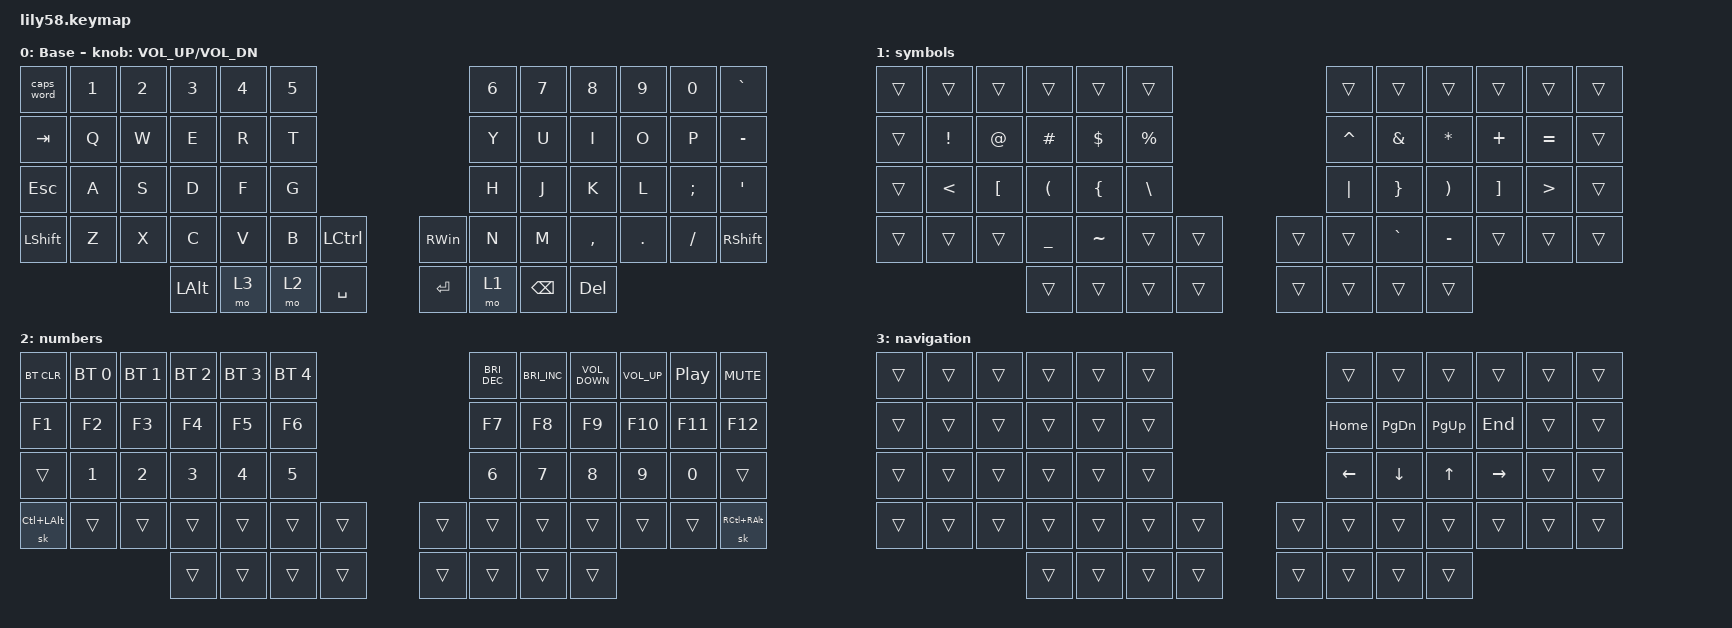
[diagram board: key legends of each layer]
/*
 * Copyright (c) 2020 The ZMK Contributors
 *
 * SPDX-License-Identifier: MIT
 */

#include <behaviors.dtsi>
#include <dt-bindings/zmk/bt.h>
#include <dt-bindings/zmk/keys.h>

/ {
    keymap {
        compatible = "zmk,keymap";

        default_layer {
            // ------------------------------------------------------------------------------------------------------------
            // |  ESC  |  1  |  2  |  3   |  4   |  5   |                   |  6   |  7    |  8    |  9   |   0   |   `   |
            // |  TAB  |  Q  |  W  |  E   |  R   |  T   |                   |  Y   |  U    |  I    |  O   |   P   |   -   |
            // |  CTRL |  A  |  S  |  D   |  F   |  G   |                   |  H   |  J    |  K    |  L   |   ;   |   '   |
            // | SHIFT |  Z  |  X  |  C   |  V   |  B   |   "["  |  |  "]"  |  N   |  M    |  ,    |  .   |   /   | SHIFT |
            //                     | ALT  | GUI  | LOWER|  SPACE |  | ENTER | RAISE| BSPC  | GUI   |

            display-name = "Base";
            bindings = <
&caps_word  &kp N1  &kp N2  &kp N3    &kp N4  &kp N5                                     &kp N6  &kp N7    &kp N8     &kp N9   &kp N0    &kp GRAVE
&kp TAB     &kp Q   &kp W   &kp E     &kp R   &kp T                                      &kp Y   &kp U     &kp I      &kp O    &kp P     &kp MINUS
&kp ESC     &kp A   &kp S   &kp D     &kp F   &kp G                                      &kp H   &kp J     &kp K      &kp L    &kp SEMI  &kp SQT
&kp LSHFT   &kp Z   &kp X   &kp C     &kp V   &kp B   &kp LEFT_CONTROL    &kp RIGHT_WIN  &kp N   &kp M     &kp COMMA  &kp DOT  &kp FSLH  &kp RSHFT
                            &kp LALT  &mo 3   &mo 2   &kp SPACE           &kp RET        &mo 1   &kp BSPC  &kp DEL
            >;

            sensor-bindings = <&inc_dec_kp C_VOL_UP C_VOL_DN>;
        };

        symbols {
            bindings = <
&trans  &trans           &trans            &trans                &trans          &trans                         &trans     &trans           &trans                 &trans             &trans            &trans
&trans  &kp EXCLAMATION  &kp AT_SIGN       &kp POUND             &kp DOLLAR      &kp PERCENT                    &kp CARET  &kp AMPERSAND    &kp ASTERISK           &kp PLUS           &kp EQUAL         &trans
&trans  &kp LESS_THAN    &kp LEFT_BRACKET  &kp LEFT_PARENTHESIS  &kp LEFT_BRACE  &kp BSLH                       &kp PIPE   &kp RIGHT_BRACE  &kp RIGHT_PARENTHESIS  &kp RIGHT_BRACKET  &kp GREATER_THAN  &trans
&trans  &trans           &trans            &kp UNDERSCORE        &kp TILDE       &trans       &trans    &trans  &trans     &kp GRAVE        &kp MINUS              &trans             &trans            &trans
                                           &trans                &trans          &trans       &trans    &trans  &trans     &trans           &trans
            >;
        };

        numbers {
            bindings = <
&bt BT_CLR    &bt BT_SEL 0  &bt BT_SEL 1  &bt BT_SEL 2  &bt BT_SEL 3  &bt BT_SEL 4                    &kp C_BRIGHTNESS_DEC  &kp C_BRIGHTNESS_INC  &kp C_VOLUME_DOWN  &kp C_VOLUME_UP  &kp C_PLAY_PAUSE  &kp C_MUTE
&kp F1        &kp F2        &kp F3        &kp F4        &kp F5        &kp F6                          &kp F7                &kp F8                &kp F9             &kp F10          &kp F11           &kp F12
&trans        &kp NUMBER_1  &kp NUMBER_2  &kp NUMBER_3  &kp NUMBER_4  &kp NUMBER_5                    &kp NUMBER_6          &kp NUMBER_7          &kp NUMBER_8       &kp NUMBER_9     &kp NUMBER_0      &trans
&sk LC(LALT)  &trans        &trans        &trans        &trans        &trans        &trans    &trans  &trans                &trans                &trans             &trans           &trans            &sk RC(RALT)
                                          &trans        &trans        &trans        &trans    &trans  &trans                &trans                &trans
            >;
        };

        navigation {
            bindings = <
&trans  &trans  &trans  &trans  &trans  &trans                    &trans    &trans         &trans       &trans     &trans  &trans
&trans  &trans  &trans  &trans  &trans  &trans                    &kp HOME  &kp PAGE_DOWN  &kp PAGE_UP  &kp END    &trans  &trans
&trans  &trans  &trans  &trans  &trans  &trans                    &kp LEFT  &kp DOWN       &kp UP       &kp RIGHT  &trans  &trans
&trans  &trans  &trans  &trans  &trans  &trans  &trans    &trans  &trans    &trans         &trans       &trans     &trans  &trans
                        &trans  &trans  &trans  &trans    &trans  &trans    &trans         &trans
            >;
        };
    };
};
